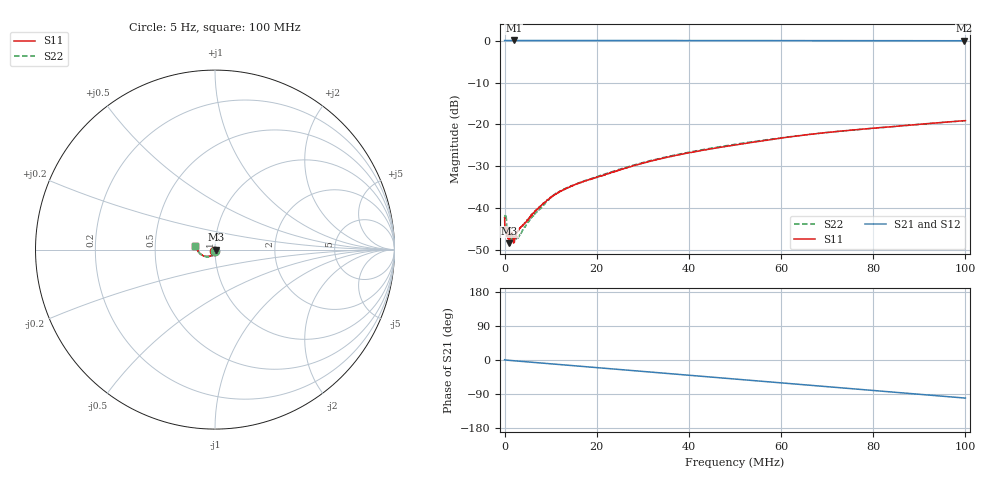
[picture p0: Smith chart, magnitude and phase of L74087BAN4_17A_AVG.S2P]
!Agilent Technologies,E5061B,MY49102235,A.02.00
!Date: Tue Jul 11 16:21:51 2023
!Data & Calibration Information:
!Freq	S11:SOLT2(ON)	S21:SOLT2(ON)	S12:SOLT2(ON)	S22:SOLT2(ON)
# Hz S RI R 50
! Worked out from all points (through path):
!   1600 points, 5 Hz to 100 MHz, reference 50 ohm
!   highest |S21| = 0.02 dB at 2.001 MHz (marker M1); lowest = 0.0 dB at 99.75 MHz (marker M2)
!   group delay of S21, straight-line fit = 2.79 ns
!   lowest |S11| = -48.3 dB at 1.001 MHz (marker M3), VSWR 1.01, Z = 50.4 - j0.0726 ohm
!   |S11| at or under -10 dB: start of sweep to end of sweep
!   |S22| runs from -49.0 to -19.1 dB; largest |S21 - S12| = 0.0026
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5  -0.00526 -0.00564  1.002 0.00802  1 0.0102  -0.00151 -0.00755
437778.6  0.00515 -0.000573  1.001 -0.00538  1.001 -0.00602  0.00664 -0.00222
625395.8  0.00509 -0.000625  1.002 -0.0104  1.002 -0.00998  0.00611 -0.001
1000630  0.00377 -0.000721  1.001 -0.0163  1.001 -0.0162  0.00516 -0.00166
1563482  0.00436 -0.00285  1.001 -0.0263  1.001 -0.0256  0.00317 -0.00343
2001256  0.00304 -0.00274  1.002 -0.035  1.001 -0.0348  0.00317 -0.00247
2376490  0.00332 -0.00292  0.9997 -0.0413  1 -0.0416  0.00395 -0.00257
3252037  0.00425 -0.00408  0.9994 -0.0568  0.9993 -0.0567  0.00315 -0.00357
6003757  0.00335 -0.00766  0.9954 -0.1048  0.9955 -0.1048  0.00288 -0.00747
9505946  0.00155 -0.0127  0.9871 -0.1661  0.9873 -0.1659  0.000887 -0.0127
1.156974e7  9.91e-05 -0.0155  0.9806 -0.2015  0.9803 -0.2014  -0.000865 -0.0156
1.669794e7  -0.00365 -0.0202  0.9578 -0.2888  0.9578 -0.2886  -0.00412 -0.0203
2.582865e7  -0.0107 -0.0277  0.8997 -0.438  0.8995 -0.4379  -0.00867 -0.029
3.333334e7  -0.0192 -0.0334  0.8338 -0.5522  0.8337 -0.552  -0.018 -0.0346
4.033771e7  -0.0281 -0.037  0.7595 -0.6499  0.7595 -0.6497  -0.028 -0.0381
5.003127e7  -0.0419 -0.0385  0.6382 -0.769  0.6382 -0.7688  -0.0423 -0.0396
6.672921e7  -0.07 -0.0322  0.3882 -0.9192  0.3884 -0.9193  -0.0693 -0.0327
7.53596e7  -0.0828 -0.023  0.2451 -0.9664  0.2452 -0.9664  -0.0822 -0.024
8.33646e7  -0.0929 -0.011  0.1075 -0.9906  0.1074 -0.9908  -0.0925 -0.0129
9.161976e7  -0.1021 0.00363  -0.0368 -0.9948  -0.0369 -0.9949  -0.102 0.000618
9.974984e7  -0.1093 0.0198  -0.1775 -0.9783  -0.1773 -0.9786  -0.1092 0.0169
1e8  -0.1094 0.0202  -0.1817 -0.9777  -0.1816 -0.9779  -0.1095 0.0176
